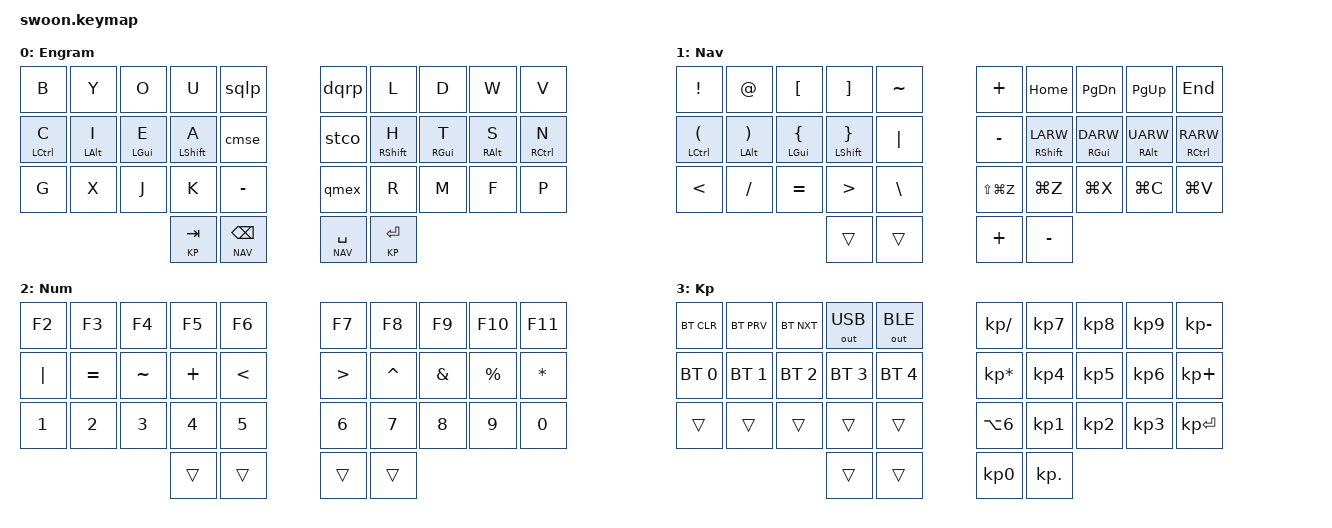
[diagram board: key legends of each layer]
/*
* Copyright (c) 2020 The ZMK Contributors
*
* SPDX-License-Identifier: MIT
*/

#include <behaviors.dtsi>
#include <dt-bindings/zmk/keys.h>
#include <dt-bindings/zmk/bt.h>
#include <dt-bindings/zmk/outputs.h>

#ifndef LAYOUT
	#define LAYOUT 1
#endif

#define QWERTY 0
#define ENGRAM 1
#define ENGRAMMER 2

#define NAV 1
#define NUM 2
#define KP 3

/ {
	behaviors {
		
		hl: home_row_mod_left {
			compatible = "zmk,behavior-hold-tap";
			label = "HOME_ROW_MOD_LEFT";
			#binding-cells = <2>;
			flavor = "balanced";
			tapping-term-ms = <HM_TAPPING_TERM>;
			hold-trigger-key-positions = < KEYS_R THUMBS >;
			hold-trigger-on-release;
			bindings = <&kp>, <&kp>;
		};
		
		hr: home_row_mod_right {
			compatible = "zmk,behavior-hold-tap";
			label = "HOME_ROW_MOD_RIGHT";
			#binding-cells = <2>;
			flavor = "balanced";
			tapping-term-ms = <HM_TAPPING_TERM>;
			hold-trigger-key-positions = < KEYS_L THUMBS >;
			hold-trigger-on-release;
			bindings = <&kp>, <&kp>;
		};
		
		hls: home_row_mod_left_shift {
			compatible = "zmk,behavior-hold-tap";
			label = "HOME_ROW_MOD_LEFT_SHIFT";
			#binding-cells = <2>;
			flavor = "balanced";
			tapping-term-ms = <HM_TAPPING_TERM_FAST>;
			quick_tap_ms = <HM_TAPPING_TERM_QT>;
			hold-trigger-key-positions = < KEYS_R THUMBS >;
			bindings = <&kp>, <&kp>;
		};
		
		hrs: home_row_mod_right_shift {
			compatible = "zmk,behavior-hold-tap";
			label = "HOME_ROW_MOD_RIGHT_SHIFT";
			#binding-cells = <2>;
			flavor = "balanced";
			tapping-term-ms = <HM_TAPPING_TERM_FAST>;
			quick_tap_ms = <HM_TAPPING_TERM_QT>;
			hold-trigger-key-positions = < KEYS_L THUMBS >;
			bindings = <&kp>, <&kp>;
		};
		
		// conditional_layers {
		//     compatible = "zmk,conditional-layers";
		//     tri_layer {
		//         if-layers = <1 2>;
		//         then-layer = <3>;
		//     };
		// };
		
		mqt: momentary-quick-tap {
			compatible = "zmk,behavior-hold-tap";
			label = "MOMENTARY_QUICK_TAP";
			#binding-cells = <2>;
			flavor = "tap-preferred";
			tapping-term-ms = <200>;
			quick-tap-ms = <125>;
			global-quick-tap;
			bindings = <&mo>, <&kp>;
		};
		
		cwe: tap_dance_mod_tap {
			compatible = "zmk,behavior-tap-dance";
			label = "CAPS-WORD-DOUBLE_TAP";
			#binding-cells = <0>;
			tapping-term-ms = <200>;
			bindings = <&kp ESC>, <&caps_word>;
		};
		
		sqlp: single-quote-left-paren {
			compatible = "zmk,behavior-mod-morph";
			label = "SINGLE_QUOTE_LEFT_PAREN";
			#binding-cells = <0>;
			bindings = <&kp SQT>, <&kp LPAR>;
			mods = <(MOD_LSFT|MOD_RSFT)>;
			keep-mods = <(MOD_LALT|MOD_LCTL|MOD_LGUI|MOD_RALT|MOD_RGUI|MOD_RCTL)>;
		};
		
		dqrp: double-quote-right-paren {
			compatible = "zmk,behavior-mod-morph";
			label = "DOUBLE_QUOTE_RIGHT_PAREN";
			#binding-cells = <0>;
			bindings = <&kp DQT>, <&kp RPAR>;
			mods = <(MOD_LSFT|MOD_RSFT)>;
			keep-mods = <(MOD_LALT|MOD_LCTL|MOD_LGUI|MOD_RALT|MOD_RGUI|MOD_RCTL)>;
		};
		
		cmse: comma-semicolon {
			compatible = "zmk,behavior-mod-morph";
			label = "COMMA_SEMICOLON";
			#binding-cells = <0>;
			bindings = <&kp COMMA>, <&kp SEMI>;
			mods = <(MOD_LSFT|MOD_RSFT)>;
			keep-mods = <(MOD_LALT|MOD_LCTL|MOD_LGUI|MOD_RALT|MOD_RGUI|MOD_RCTL)>;
		};
		
		stco: stop-colon {
			compatible = "zmk,behavior-mod-morph";
			label = "stco";
			#binding-cells = <0>;
			bindings = <&kp DOT>, <&kp COLON>;
			mods = <(MOD_LSFT|MOD_RSFT)>;
			keep-mods = <(MOD_LALT|MOD_LCTL|MOD_LGUI|MOD_RALT|MOD_RGUI|MOD_RCTL)>;
		};
		
		qmex: questionmark-exclamation {
			compatible = "zmk,behavior-mod-morph";
			label = "QUESTIONMARK_EXCLAMATION";
			#binding-cells = <0>;
			bindings = <&kp QMARK>, <&kp EXCL>;
			mods = <(MOD_LSFT|MOD_RSFT)>;
			keep-mods = <(MOD_LALT|MOD_LCTL|MOD_LGUI|MOD_RALT|MOD_RGUI|MOD_RCTL)>;
		};
		
		slsh: forward-and-backslash {
			compatible = "zmk,behavior-mod-morph";
			label = "SLASHES";
			#binding-cells = <0>;
			bindings = <&kp FSLH>, <&kp BSLH>;
			mods = <(MOD_LSFT|MOD_RSFT)>;
			keep-mods = <(MOD_LALT|MOD_LCTL|MOD_LGUI|MOD_RALT|MOD_RGUI|MOD_RCTL)>;
		};
		
		habu: pound-dollar {
			compatible = "zmk,behavior-mod-morph";
			label = "habu";
			#binding-cells = <0>;
			bindings = <&kp POUND>, <&kp DOLLAR>;
			mods = <(MOD_LSFT|MOD_RSFT)>;
			keep-mods = <(MOD_LALT|MOD_LCTL|MOD_LGUI|MOD_RALT|MOD_RGUI|MOD_RCTL)>;
		};
		
		atti: at-tilde {
			compatible = "zmk,behavior-mod-morph";
			label = "AT_TILDE";
			#binding-cells = <0>;
			bindings = <&kp AT>, <&kp GRAVE>;
			mods = <(MOD_LSFT|MOD_RSFT)>;
			keep-mods = <(MOD_LALT|MOD_LCTL|MOD_LGUI|MOD_RALT|MOD_RGUI|MOD_RCTL)>;
		};
		
		ZMK_MACRO(af,
		wait-ms = <30>;
		tap-ms = <40>;
		bindings = <&kp EQUAL &kp GT>;
		)
	};
	
    combos {
        compatible = "zmk,combos";
        combo_num_l {
            timeout-ms = <50>;
            key-positions = <30 31>;
			require-prior-idle-ms = <50>;
            bindings = <&mo NUM>;
        };
        combo_num_r {
            timeout-ms = <50>;
            key-positions = <32 33>;
			require-prior-idle-ms = <50>;
            bindings = <&mo NUM>;
        };
        combo_esc {
            timeout-ms = <50>;
            key-positions = <0 10>;
			require-prior-idle-ms = <50>;
			layers = <0>;
            bindings = <&kp ESC>;
        };
        combo_caps_word {
            timeout-ms = <50>;
            key-positions = <10 20>;
			require-prior-idle-ms = <50>;
			layers = <0>;
            bindings = <&caps_word>;
        };
		
		#if LAYOUT == ENGRAM || LAYOUT == ENGRAMMER
        combo_z {
            timeout-ms = <50>;
            key-positions = <9 19>;
			require-prior-idle-ms = <50>;
			layers = <0>;
            bindings = <&kp Z>;
        };
        combo_q {
            timeout-ms = <50>;
            key-positions = <19 29>;
			require-prior-idle-ms = <50>;
			layers = <0>;
            bindings = <&kp Q>;
        };
		#endif

    };

	
	keymap {
		compatible = "zmk,keymap";
		
    #if LAYOUT == ENGRAM
		engram_layer {
			label = "Engram";
			bindings = <
			&kp B    &kp Y    &kp O     &kp U      &sqlp       &dqrp     &kp L      &kp D    &kp W    &kp V
			&hl LCTRL C &hl LALT I &hl LGUI E  &hls LSHFT A  &cmse       &stco     &hrs RSHFT H  &hr RGUI T &hr RALT S &hr RCTRL N
			&kp G    &kp X    &kp J     &kp K      &kp MINUS   &qmex     &kp R      &kp M    &kp F    &kp P
			&mqt KP TAB &mqt NAV BSPC &mqt NAV SPACE &mqt KP RETURN
			>;
		};
		#elif LAYOUT == ENGRAMMER
		engrammer_layer {
			label = "Engrammer";
			bindings = <
			&kp B    &kp Y    &kp O     &kp U      &kp SQT     &kp SEMI   &kp L      &kp D    &kp W    &kp V
			&hl LCTRL C &hl LALT I &hl LGUI E  &hls LSHFT A  &kp COMMA   &kp DOT    &hrs RSHFT H  &hr RGUI T &hr RALT S &hr RCTRL N
			&kp G    &kp X    &kp J     &kp K      &kp MINUS   &kp QMARK  &kp R      &kp M    &kp F    &kp P
			&mqt NAV TAB &mqt NUM BSPC &kp SPACE  &kp RETURN
			>;
		};
    #else
		qwerty_layer {
			label = "Base";
			bindings = <
			&kp Q &kp W &kp E &kp R   &kp T   &kp Y     &kp U   &kp I  &kp O &kp P
			&kp A &kp S &kp D &kp F   &kp G   &kp H     &kp J   &kp K  &kp L &kp SEMI
			&kp Z &kp X &kp C &kp V   &kp B   &kp N     &kp M   &kp COMMA &kp DOT &kp SLASH
			&kp TAB &kp BSPC &kp SPACE &kp RETURN
			>;
		};
    #endif
		
		//      !    @    [    ]    _    _    home pgdn pgup end 
		//   @clp @arp @mlb @srb  @af    _    @sl  @md  @au  @cr 
		//     < #(sft /)  =   >    _    _    M-S-z M-z M-x  M-c  M-v 
		//                      _   _   _    _   
		
		nav_layer {
			label = "Nav";
			bindings = <
			&kp EXCL   &kp AT     &kp LBKT    &kp RBKT           &kp TILDE         &kp PLUS         &kp  HOME       &kp PG_DN      &kp PG_UP   &kp END
			&hl LCTRL LPAR &hl LALT RPAR &hl LGUI LBRC &hls LSHFT RBRC  &kp PIPE      &kp MINUS      &hrs RSHFT LARW   &hr RGUI DARW &hr RALT UARW &hr RCTRL RARW
			&kp LT     &kp SLASH     &kp EQUAL      &kp GT             &kp BSLH         &kp LS(LG(Z))        &kp LG(Z)      &kp LG(X)   &kp LG(C)  &kp LG(V)
			&trans             &trans         &kp PLUS      &kp MINUS
			>;
		};
		
    #if LAYOUT == ENGRAM
		num_layer {
			label = "Num";
			bindings = <
			&kp F2      &kp F3      &kp F4          &kp F5       &kp F6        &kp F7         &kp F8    &kp F9     &kp F10     &kp F11
			&kp PIPE    &kp EQUAL   &kp TILDE      &kp PLUS      &kp LT        &kp GT     &kp CARET     &kp AMPS   &kp PRCNT   &kp STAR
			&kp N1      &kp N2      &kp N3          &kp N4       &kp N5        &kp N6     &kp N7        &kp N8     &kp N9      &kp N0
			&trans          &trans        &trans       &trans
			>;
			
		};
		
    #else
		num_layer {
			label = "Num";
			bindings = <
			&kp F2      &kp F3      &kp F4          &kp F5       &kp F6        &kp F7         &kp F8    &kp F9     &kp F10     &kp F11
			&kp EXCL    &kp AT   &kp POUND      &kp DOLLAR      &kp PERCENT    &kp CARET     &kp AMPS  &kp ASTRK   &kp LPAR   &kp RPAR
			&kp N1      &kp N2      &kp N3         &kp N4        &kp N5        &kp N6     &kp N7        &kp N8     &kp N9      &kp N0
			&trans          &trans        &trans        &trans
			>;
		};
    #endif
		
		kp_layer {
			label = "Kp";
			bindings = <
			&bt BT_CLR  &bt BT_PRV     &bt BT_NXT      &out OUT_USB         &out OUT_BLE &kp KP_DIVIDE   &kp  KP_N7 &kp KP_N8 &kp KP_N9 &kp KP_MINUS
			&bt BT_SEL 0  &bt BT_SEL 1     &bt BT_SEL 2      &bt BT_SEL 3         &bt BT_SEL 4 &kp KP_MULTIPLY &kp KP_N4  &kp KP_N5 &kp KP_N6 &kp KP_PLUS
			&trans  &trans     &trans      &trans         &trans &kp LA(N6)           &kp KP_N1  &kp KP_N2 &kp KP_N3 &kp KP_ENTER
			&trans         &trans &kp KP_N0       &kp KP_DOT
			>;
		};
	};
};
